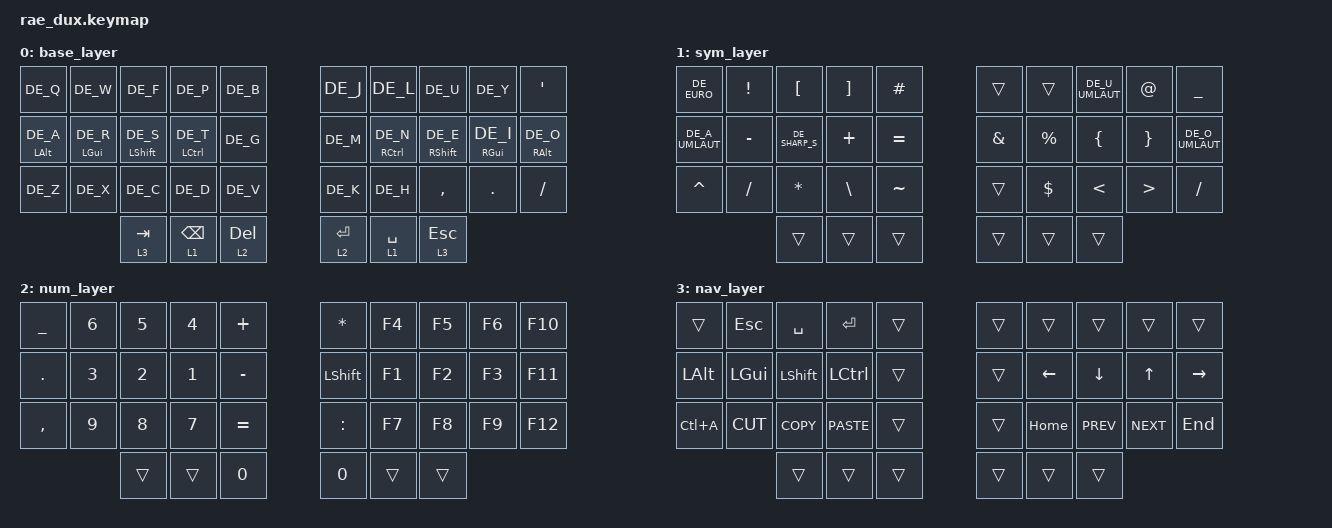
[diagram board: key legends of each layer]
/*
 * Copyright (c) 2020 The ZMK Contributors
 *
 * SPDX-License-Identifier: MIT
 */

#include "keys_de.h"
#include <behaviors.dtsi>
#include <dt-bindings/zmk/keys.h>

/ {
    combos {
        compatible = "zmk,combos";

        excl {
            bindings = <&kp EXCL>;
            key-positions = <1 11>;
        };

        grave {
            bindings = <&kp GRAVE>;
            key-positions = <2 12>;
        };

        scope {
            bindings = <&scope>;
            key-positions = <3 13>;
        };

        caret {
            bindings = <&kp CARET>;
            key-positions = <4 14>;
        };

        lpar {
            bindings = <&kp LPAR>;
            key-positions = <11 12>;
        };

        lbrc {
            bindings = <&kp LBRC>;
            key-positions = <11 13>;
        };

        lbkt {
            bindings = <&kp LBKT>;
            key-positions = <12 13>;
        };

        quest-m {
            bindings = <&kp QMARK>;
            key-positions = <13 14>;
        };

        x-super_r {
            bindings = <&kp K_MUTE>;
            key-positions = <11 21>;
        };

        bslash {
            bindings = <&kp BSLH>;
            key-positions = <12 22>;
        };

        pipe {
            bindings = <&kp PIPE>;
            key-positions = <13 23>;
        };

        tilde {
            bindings = <&kp TILDE>;
            key-positions = <14 24>;
        };

        equal {
            bindings = <&kp EQUAL>;
            key-positions = <21 22>;
        };

        underscore {
            bindings = <&kp UNDERSCORE>;
            key-positions = <22 23>;
        };

        switch_lang {
            bindings = <&sl 1>;
            key-positions = <21 23>;
        };

        toggle_game_layer {
            bindings = <&tog 2>;
            key-positions = <20 23>;
        };

        percent {
            bindings = <&kp PRCNT>;
            key-positions = <5 15>;
        };

        hash {
            bindings = <&kp HASH>;
            key-positions = <6 16>;
        };

        semicolon {
            bindings = <&kp SEMI>;
            key-positions = <7 17>;
        };

        at {
            bindings = <&kp AT>;
            key-positions = <8 18>;
        };

        section {
            bindings = <&kp DE_SECTION>;
            key-positions = <15 16>;
        };

        rbkt {
            bindings = <&kp RBKT>;
            key-positions = <16 17>;
        };

        rbrc {
            bindings = <&kp RBRC>;
            key-positions = <18 16>;
        };

        rpar {
            bindings = <&kp RPAR>;
            key-positions = <17 18>;
        };

        dollar {
            bindings = <&kp DLLR>;
            key-positions = <15 25>;
        };

        ampersand {
            bindings = <&kp AMPS>;
            key-positions = <16 26>;
        };

        star {
            bindings = <&kp STAR>;
            key-positions = <17 27>;
        };

        plus {
            bindings = <&kp PLUS>;
            key-positions = <18 28>;
        };

        minus {
            bindings = <&kp MINUS>;
            key-positions = <27 26>;
        };

        euro {
            bindings = <&kp DE_EURO>;
            key-positions = <28 26>;
        };

        colon {
            bindings = <&kp COLON>;
            key-positions = <28 27>;
        };
    };

    macros {
        scope: scope {
            compatible = "zmk,behavior-macro";
            #binding-cells = <0>;
            bindings = <&kp COLON &kp COLON>;
            label = "SCOPE";
        };
    };

    behaviors {
        lhm: left_hand_positional_hold_tap {
            compatible = "zmk,behavior-hold-tap";
            label = "LEFT_HAND_POSITIONAL_HOLD_TAP";
            bindings = <&kp>, <&kp>;

            #binding-cells = <2>;
            tapping-term-ms = <230>;
            quick-tap-ms = <100>;
            require-prior-idle-ms = <125>;
            flavor = "balanced";
            hold-trigger-key-positions = <5 6 7 8 9 15 16 17 18 19 25 26 27 28 29 33 34 35>;
        };

        rhm: right_hand_positional_hold_tap {
            compatible = "zmk,behavior-hold-tap";
            label = "RIGHT_POSITIONAL_HOLD_TAP";
            bindings = <&kp>, <&kp>;

            #binding-cells = <2>;
            tapping-term-ms = <230>;
            quick-tap-ms = <100>;
            require-prior-idle-ms = <125>;
            flavor = "balanced";
            hold-trigger-key-positions = <0 1 2 3 4 10 11 12 13 14 20 21 22 23 24 30 31 32>;
        };
    };

    keymap {
        compatible = "zmk,keymap";

        base_layer {
            bindings = <
&kp DE_Q            &kp DE_W            &kp DE_F              &kp DE_P         &kp DE_B    &kp DE_J   &kp DE_L         &kp DE_U          &kp DE_Y             &kp APOS
&lhm LEFT_ALT DE_A  &lhm LEFT_GUI DE_R  &lhm LEFT_SHIFT DE_S  &lhm LCTRL DE_T  &kp DE_G    &kp DE_M   &rhm RCTRL DE_N  &rhm RSHIFT DE_E  &rhm RIGHT_GUI DE_I  &rhm RALT DE_O
&kp DE_Z            &kp DE_X            &kp DE_C              &kp DE_D         &kp DE_V    &kp DE_K   &kp DE_H         &kp COMMA         &kp DOT              &kp FSLH
                                        &lt 3 TAB             &lt 1 BSPC        &lt 2 DEL  &lt 2 RET  &lt 1 SPACE      &lt 3 ESCAPE
            >;
        };

        sym_layer {
            bindings = <
&kp DE_EURO      &kp EXCL   &kp LBKT        &kp RBKT       &kp HASH   &trans         &trans     &kp DE_U_UMLAUT  &kp AT    &kp UNDERSCORE
&kp DE_A_UMLAUT  &kp MINUS  &kp DE_SHARP_S  &kp PLUS       &kp EQUAL  &kp AMPERSAND  &kp PRCNT  &kp LBRC         &kp RBRC  &kp DE_O_UMLAUT
&kp CARET        &kp FSLH   &kp ASTRK       &kp BACKSLASH  &kp TILDE  &trans         &kp DLLR   &kp LT           &kp GT    &kp FSLH
                            &trans          &trans         &trans     &trans         &trans     &trans
            >;
        };

        num_layer {
            bindings = <
&kp UNDER  &kp N6  &kp N5  &kp N4  &kp PLUS   &kp STAR   &kp F4  &kp F5  &kp F6  &kp F10
&kp DOT    &kp N3  &kp N2  &kp N1  &kp MINUS  &kp LSHFT  &kp F1  &kp F2  &kp F3  &kp F11
&kp COMMA  &kp N9  &kp N8  &kp N7  &kp EQUAL  &kp COLON  &kp F7  &kp F8  &kp F9  &kp F12
                   &trans  &trans  &kp N0     &kp N0     &trans  &trans
            >;
        };

        nav_layer {
            bindings = <
&trans     &kp ESC    &kp SPACE   &kp RET      &trans  &trans  &trans    &trans      &trans      &trans
&kp LALT   &kp LGUI   &kp LSHFT   &kp LCTRL    &trans  &trans  &kp LEFT  &kp DOWN    &kp UP      &kp RIGHT
&kp LC(A)  &kp K_CUT  &kp K_COPY  &kp K_PASTE  &trans  &trans  &kp HOME  &kp K_PREV  &kp K_NEXT  &kp END
                      &trans      &trans       &trans  &trans  &trans    &trans
            >;
        };
    };
};
